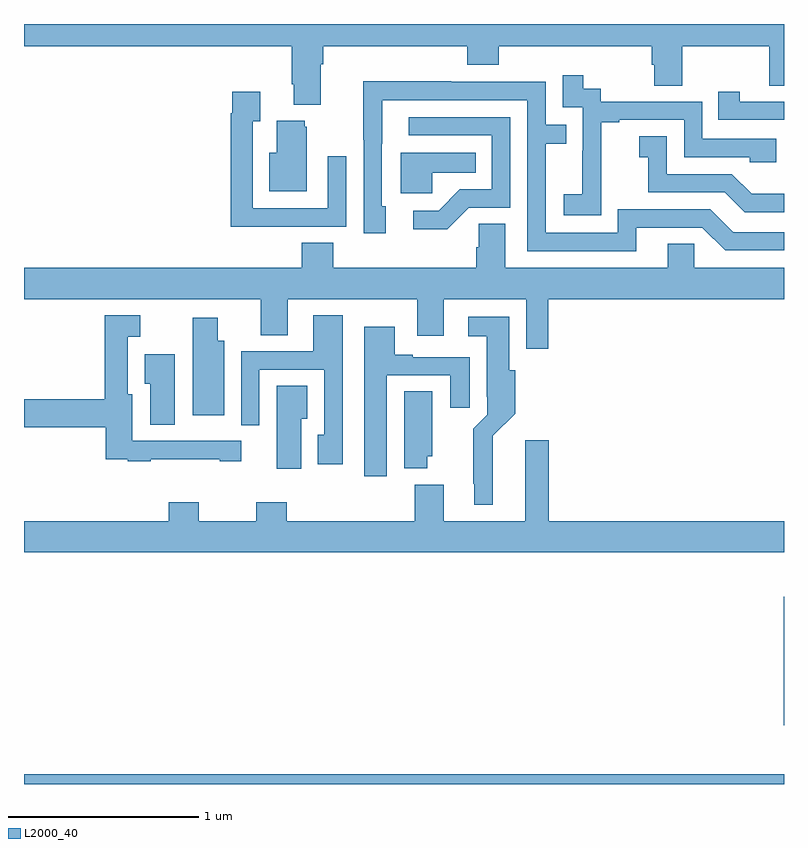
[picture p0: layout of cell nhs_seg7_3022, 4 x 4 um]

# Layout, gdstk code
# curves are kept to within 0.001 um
import gdstk
lib = gdstk.Library(unit=1e-6, precision=1e-09)
def R(c, l, rs):  # rectangles x0, y0, x1, y1
    for r in rs: c.add(gdstk.rectangle(r[:2], r[2:], *l))
def P(c, l, *ps):  # polygons
    for p in ps: c.add(gdstk.Polygon(p, *l))
L2000_40 = (2000, 40)

nhs_seg7_3022 = lib.new_cell('nhs_seg7_3022')
R(nhs_seg7_3022, L2000_40, [(303,1062,307,1062.052), (306.998,1062.31,307,1062.985)])
P(nhs_seg7_3022, L2000_40, [(304.561,1065.788),(304.574,1065.788),(304.574,1065.884),(305.333,1065.884),(305.333,1065.785),(305.498,1065.785),(305.498,1065.884),(306.305,1065.884),(306.305,1065.786),(306.317,1065.786),(306.317,1065.676),(306.465,1065.676),(306.465,1065.884),(306.922,1065.884),(306.922,1065.676),(307,1065.676),(307,1066),(303,1066),(303,1065.884),(304.409,1065.884),(304.409,1065.682),(304.421,1065.682),(304.421,1065.575),(304.561,1065.575)],
  [(306.039,1065.199),(306.038,1065.199),(306.038,1065.483),(306.133,1065.483),(306.133,1065.495),(306.474,1065.495),(306.474,1065.3),(306.819,1065.3),(306.819,1065.273),(306.959,1065.273),(306.959,1065.396),(306.57,1065.396),(306.57,1065.591),(306.036,1065.591),(306.036,1065.66),(305.944,1065.66),(305.944,1065.73),(305.835,1065.73),(305.835,1065.561),(305.94,1065.561),(305.94,1065.332),(305.939,1065.332),(305.939,1065.103),(305.841,1065.103),(305.841,1064.993),(306.039,1064.993)],
  [(306.223,1064.928),(306.57,1064.928),(306.69,1064.808),(307,1064.808),(307,1064.904),(306.732,1064.904),(306.612,1065.024),(306.126,1065.024),(306.126,1064.901),(305.745,1064.901),(305.745,1065.37),(305.855,1065.37),(305.855,1065.471),(305.745,1065.471),(305.745,1065.696),(305.249,1065.696),(305.249,1065.698),(304.786,1065.698),(304.786,1065.391),(304.788,1065.391),(304.788,1064.898),(304.903,1064.898),(304.903,1065.042),(304.884,1065.042),(304.885,1065.6),(305.649,1065.6),(305.649,1064.805),(306.223,1064.805)],
  [(304.379,1064.934),(304.695,1064.934),(304.695,1065.304),(304.599,1065.304),(304.599,1065.03),(304.203,1065.03),(304.203,1065.487),(304.243,1065.487),(304.243,1065.643),(304.095,1065.643),(304.095,1065.53),(304.087,1065.53),(304.087,1064.933),(304.379,1064.933)],
  [(307,1065.591),(306.766,1065.591),(306.766,1065.643),(306.655,1065.643),(306.655,1065.495),(307,1065.495)],
  [(305.34,1065.033),(305.559,1065.033),(305.559,1065.51),(305.025,1065.51),(305.025,1065.414),(305.463,1065.414),(305.463,1065.129),(305.294,1065.129),(305.183,1065.018),(305.049,1065.018),(305.049,1064.921),(305.227,1064.921)],
  [(304.489,1065.459),(304.478,1065.459),(304.478,1065.49),(304.331,1065.49),(304.331,1065.322),(304.292,1065.322),(304.292,1065.119),(304.489,1065.119)],
  [(307,1065.106),(306.83,1065.106),(306.726,1065.21),(306.384,1065.21),(306.384,1065.409),(306.237,1065.409),(306.237,1065.299),(306.286,1065.299),(306.286,1065.114),(306.689,1065.114),(306.794,1065.009),(307,1065.009)],
  [(305.148,1065.218),(305.378,1065.218),(305.378,1065.322),(304.982,1065.322),(304.982,1065.11),(305.148,1065.11)],
  [(305.759,1064.552),(307,1064.552),(307,1064.716),(306.528,1064.716),(306.528,1064.843),(306.389,1064.843),(306.389,1064.716),(305.533,1064.716),(305.533,1064.948),(305.394,1064.948),(305.394,1064.825),(305.381,1064.825),(305.381,1064.716),(304.628,1064.716),(304.628,1064.849),(304.463,1064.849),(304.463,1064.716),(303,1064.716),(303,1064.552),(304.247,1064.552),(304.247,1064.362),(304.387,1064.362),(304.387,1064.552),(305.069,1064.552),(305.069,1064.358),(305.209,1064.358),(305.209,1064.552),(305.643,1064.552),(305.643,1064.292),(305.759,1064.292)],
  [(304.677,1064.467),(304.523,1064.467),(304.523,1064.277),(304.143,1064.277),(304.143,1063.887),(304.239,1063.887),(304.239,1064.181),(304.581,1064.181),(304.581,1063.839),(304.547,1063.839),(304.547,1063.683),(304.677,1063.683)],
  [(303.667,1063.708),(304.031,1063.708),(304.031,1063.698),(304.143,1063.698),(304.143,1063.806),(303.571,1063.806),(303.571,1064.052),(303.547,1064.052),(303.547,1064.354),(303.613,1064.354),(303.613,1064.467),(303.426,1064.467),(303.426,1064.024),(303,1064.024),(303,1063.877),(303.431,1063.877),(303.431,1063.71),(303.547,1063.71),(303.547,1063.698),(303.667,1063.698)],
  [(305.467,1063.832),(305.585,1063.95),(305.585,1064.178),(305.554,1064.178),(305.554,1064.458),(305.337,1064.458),(305.337,1064.357),(305.435,1064.357),(305.435,1064.038),(305.439,1064.038),(305.439,1063.944),(305.365,1063.87),(305.365,1063.579),(305.369,1063.579),(305.369,1063.469),(305.467,1063.469)],
  [(304.054,1064.332),(304.021,1064.332),(304.021,1064.455),(303.887,1064.455),(303.887,1063.94),(304.054,1063.94)],
  [(304.909,1064.151),(305.243,1064.151),(305.243,1063.98),(305.347,1063.98),(305.347,1064.247),(305.047,1064.247),(305.047,1064.26),(304.951,1064.26),(304.951,1064.407),(304.79,1064.407),(304.79,1063.62),(304.909,1063.62)],
  [(303.793,1064.263),(303.635,1064.263),(303.635,1064.107),(303.665,1064.107),(303.665,1063.891),(303.793,1063.891)],
  [(304.459,1063.922),(304.492,1063.922),(304.492,1064.096),(304.331,1064.096),(304.331,1063.659),(304.459,1063.659)],
  [(305.122,1063.725),(305.149,1063.725),(305.149,1064.066),(305,1064.066),(305,1063.661),(305.122,1063.661)],
  [(307,1063.384),(305.762,1063.384),(305.762,1063.81),(305.639,1063.81),(305.639,1063.384),(305.209,1063.384),(305.209,1063.576),(305.057,1063.576),(305.057,1063.384),(304.382,1063.384),(304.382,1063.483),(304.222,1063.483),(304.222,1063.384),(303.921,1063.384),(303.921,1063.483),(303.761,1063.483),(303.761,1063.384),(303,1063.384),(303,1063.22),(307,1063.22)])

lib.write_gds('nhs_seg7_3022.gds')
